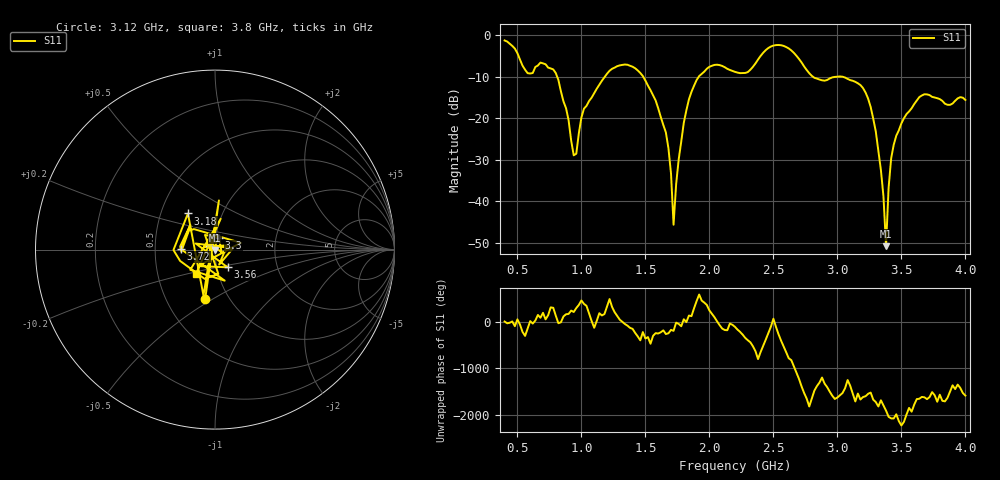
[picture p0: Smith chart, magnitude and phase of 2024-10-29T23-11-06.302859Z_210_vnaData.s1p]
!Created with skrf (http://scikit-rf.org).
# Hz S RI R 50.0
!freq ReS11 ImS11
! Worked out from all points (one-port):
!   181 points, 400 MHz to 4 GHz, reference 50 ohm
!   lowest |S11| = -50.8 dB at 3.38 GHz (marker M1), VSWR 1.01, Z = 49.9 - j0.265 ohm
!   |S11| at or under -10 dB: 810.9 MHz to 1.183 GHz (371.8 MHz wide, 37.3 % of centre); 1.483 GHz to 1.917 GHz (433.3 MHz wide, 25.5 % of centre); 3.042 GHz to end of sweep (the widest 3 of 4)
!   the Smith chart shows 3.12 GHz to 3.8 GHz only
!   S11 on the Smith chart (normalised r, x): 3.12 GHz: 0.77, -0.47; 3.18 GHz: 0.69, +0.29; 3.3 GHz: 1.03, +0.14; 3.56 GHz: 1.13, -0.23; 3.72 GHz: 0.68, +0.00; 3.8 GHz: 0.78, -0.22
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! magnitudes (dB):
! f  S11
! 400 MHz  -1.3
! 580 MHz  -9.1
! 780 MHz  -8.2
! 860 MHz  -16.0
! 960 MHz  -28.5
! 1.02 GHz  -17.7
! 1.3 GHz  -7.3
! 1.58 GHz  -15.7
! 1.68 GHz  -27.2
! 1.72 GHz  -45.6
! 1.76 GHz  -29.9
! 1.84 GHz  -15.4
! 1.92 GHz  -9.8
! 2.2 GHz  -8.8
! 2.66 GHz  -4.2
! 2.82 GHz  -10.2
! 3.1 GHz  -10.8
! 3.12 GHz  -11.0
! 3.18 GHz  -12.0
! 3.3 GHz  -23.2
! 3.36 GHz  -38.8
! 3.38 GHz  -50.8
! 3.4 GHz  -36.7
! 3.42 GHz  -29.6
! 3.56 GHz  -18.4
! 3.72 GHz  -14.4
! 3.8 GHz  -15.4
! 4 GHz  -15.6
